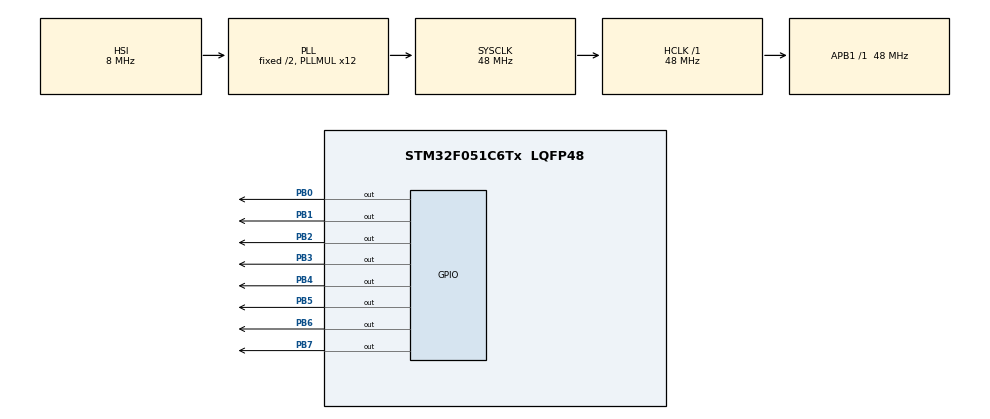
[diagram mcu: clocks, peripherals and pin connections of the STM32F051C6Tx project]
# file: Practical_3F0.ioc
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Mcu.Family=STM32F0
Mcu.Name=STM32F051C6Tx
Mcu.Package=LQFP48
PA13.Mode=Serial_Wire
PA13.Signal=SYS_SWDIO
PA14.Mode=Serial_Wire
PA14.Signal=SYS_SWCLK
PB0.Signal=GPIO_Output
PB1.Signal=GPIO_Output
PB2.Signal=GPIO_Output
PB3.Signal=GPIO_Output
PB4.Signal=GPIO_Output
PB5.Signal=GPIO_Output
PB6.Signal=GPIO_Output
PB7.Signal=GPIO_Output
PF0-OSC_IN.Mode=HSE-External-Oscillator
PF0-OSC_IN.Signal=RCC_OSC_IN
PF1-OSC_OUT.Mode=HSE-External-Oscillator
PF1-OSC_OUT.Signal=RCC_OSC_OUT
ProjectManager.HeapSize=0x200
ProjectManager.StackSize=0x400
ProjectManager.TargetToolchain=STM32CubeIDE
RCC.AHBFreq_Value=48000000
RCC.APB1Freq_Value=48000000
RCC.APB1TimFreq_Value=48000000
RCC.HCLKFreq_Value=48000000
RCC.PLLMUL=RCC_PLL_MUL12
RCC.SYSCLKFreq_VALUE=48000000
RCC.SYSCLKSource=RCC_SYSCLKSOURCE_PLLCLK
TIM2.Period=4294967294
VP_TIM1_VS_ClockSourceINT.Mode=Internal
VP_TIM2_VS_ClockSourceINT.Mode=Internal
board=custom

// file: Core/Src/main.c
/* USER CODE BEGIN Header */
/**
  ******************************************************************************
  * @file           : main.c
  * @brief          : Main program body
  ******************************************************************************
  * @attention
  *
  * Copyright (c) 2025 STMicroelectronics.
  * All rights reserved.
  *
  * This software is licensed under terms that can be found in the LICENSE file
  * in the root directory of this software component.
  * If no LICENSE file comes with this software, it is provided AS-IS.
  *
  ******************************************************************************
  */
/* USER CODE END Header */
#include "main.h"

/* USER CODE BEGIN PD */
#define MAX_ITER 100
/* USER CODE END PD */

TIM_HandleTypeDef htim1;
TIM_HandleTypeDef htim2;

/* USER CODE BEGIN PV */
//TODO: Define variables you think you might need
//Mandelbrot Variables
//********************************************************************
  uint32_t start_time = 0;
  uint32_t end_time = 0;
  uint16_t pin_mask = 0;
  uint64_t start_cnt, end_cnt; //For cycle counting
  uint32_t run_start = 0; //start time for run time
  uint32_t run_end = 0; //end time for run time
  uint32_t run_time = 0;

  int sizes[] = {192};//128, 160, 192, 224, 256};
  int num_sizes = 1;
  int rows = 8; //for striping

   // Arrays to store results
  uint64_t checksums[1];
  uint32_t execution_times[1];
  uint64_t cycle_cnt[1];
  double throughput[1];

  //*******************************************************************
  //End Mandelbrot variables
/* USER CODE END PV */

void SystemClock_Config(void);
static void MX_GPIO_Init(void);
static void MX_TIM2_Init(void);
static void MX_TIM1_Init(void);
/* USER CODE BEGIN PFP */
//TODO: Define any function prototypes you might need such as the calculate Mandelbrot function among others
	uint64_t calculate_mandelbrot_fixed_point_arithmetic(int width, int height, int max_iterations);
	uint64_t calculate_mandelbrot_double(int width, int height, int max_iterations);
	uint64_t calculate_mandelbrot_float(int width, int height, int max_iterations);
	uint64_t mandelbrot_sum_stripe(int width, int height, int y_start, int rows, int max_iterations);
	uint64_t calculate_mandelbrot_striped_total(int width, int height, int max_iterations, int stripe_rows);
	uint64_t calculate_mandelbrot_fixed_point_arithmetic_no_overflow(int width, int height, int max_iterations);
/* USER CODE END PFP */

int main(void)
{

  /* MCU Configuration--------------------------------------------------------*/

  /* Reset of all peripherals, Initializes the Flash interface and the Systick. */
  HAL_Init();

  /* Configure the system clock */
  SystemClock_Config();

  /* Initialize all configured peripherals */
  MX_GPIO_Init();
  MX_TIM2_Init();
  MX_TIM1_Init();
  /* USER CODE BEGIN 2 */

  //Start timer 2 (used to measure cycles)

    	 //TIM2 is initialised to be at the same frequency as the CPU
    	 HAL_TIM_Base_Start(&htim2);

  		  //TODO: Visual indicator: Turn on LED0 to signal processing start
  		  HAL_GPIO_WritePin(GPIOB, GPIO_PIN_0, GPIO_PIN_SET);

  		  //TODO: Benchmark and Profile Performance
  		  run_start = HAL_GetTick();
  		  //Automatically step through all image sizes
  		  for (int i = 0; i < num_sizes; i++)
  		    {
  		        int current_size = sizes[i];

  				  //Start time and cycle count
  				  start_time = HAL_GetTick();
  				  start_cnt = __HAL_TIM_GET_COUNTER(&htim2);

  				  //Call mandelbrot function
  				  //checksums[i] = calculate_mandelbrot_fixed_point_arithmetic(current_size, current_size, MAX_ITER);
  				  //checksums[i] = calculate_mandelbrot_fixed_point_arithmetic_no_overflow(current_size, current_size, MAX_ITER);
  				  //checksums[i] = calculate_mandelbrot_striped_total(current_size, 1080, MAX_ITER, rows);
  				  checksums[i] = calculate_mandelbrot_double(current_size, current_size, MAX_ITER);
  				  //checksum = calculate_mandelbrot_double(256, 256, MAX_ITER);

  				  //End time and cycle count
  				  end_time = HAL_GetTick();
  				  end_cnt = __HAL_TIM_GET_COUNTER(&htim2);

  				  execution_times[i] = end_time - start_time;
  				  throughput[i] = (current_size*current_size)/(execution_times[i]/1000.0); //Throughput in pixels per second

  				  //Cycle count (accounting for overflow of TIM2)
  				  if (end_cnt >= start_cnt)
  				      cycle_cnt[i] = end_cnt - start_cnt;
  				  else
  				      cycle_cnt[i] = (0xFFFFFFFF - start_cnt) + end_cnt + 1;

  				  //TODO: Visual indicator: Turn on LED1 to signal processing start
  					HAL_GPIO_WritePin(GPIOB, GPIO_PIN_1, GPIO_PIN_SET);

  				  //TODO: Keep the LEDs ON for 2s
  					HAL_Delay(2000);

  				  //TODO: Turn OFF LEDs
  					HAL_GPIO_WritePin(GPIOB, GPIO_PIN_0, GPIO_PIN_RESET);
  					HAL_GPIO_WritePin(GPIOB, GPIO_PIN_1, GPIO_PIN_RESET);
  		    }
  		run_end = HAL_GetTick();
  		run_time = run_end - run_start;
  /* USER CODE END 2 */
  		HAL_GPIO_WritePin(GPIOB, GPIO_PIN_2, GPIO_PIN_SET); //signal end of processing
  /* Infinite loop */
	  while (1)
	  {
	  }

}

void SystemClock_Config(void)
{
  RCC_OscInitTypeDef RCC_OscInitStruct = {0};
  RCC_ClkInitTypeDef RCC_ClkInitStruct = {0};

  /** Initializes the RCC Oscillators according to the specified parameters
  * in the RCC_OscInitTypeDef structure.
  */
  RCC_OscInitStruct.OscillatorType = RCC_OSCILLATORTYPE_HSI;
  RCC_OscInitStruct.HSIState = RCC_HSI_ON;
  RCC_OscInitStruct.HSICalibrationValue = RCC_HSICALIBRATION_DEFAULT;
  RCC_OscInitStruct.PLL.PLLState = RCC_PLL_ON;
  RCC_OscInitStruct.PLL.PLLSource = RCC_PLLSOURCE_HSI;
  RCC_OscInitStruct.PLL.PLLMUL = RCC_PLL_MUL12;
  RCC_OscInitStruct.PLL.PREDIV = RCC_PREDIV_DIV1;
  if (HAL_RCC_OscConfig(&RCC_OscInitStruct) != HAL_OK)
  {
    Error_Handler();
  }

  /** Initializes the CPU, AHB and APB buses clocks
  */
  RCC_ClkInitStruct.ClockType = RCC_CLOCKTYPE_HCLK|RCC_CLOCKTYPE_SYSCLK
                              |RCC_CLOCKTYPE_PCLK1;
  RCC_ClkInitStruct.SYSCLKSource = RCC_SYSCLKSOURCE_PLLCLK;
  RCC_ClkInitStruct.AHBCLKDivider = RCC_SYSCLK_DIV1;
  RCC_ClkInitStruct.APB1CLKDivider = RCC_HCLK_DIV1;

  if (HAL_RCC_ClockConfig(&RCC_ClkInitStruct, FLASH_LATENCY_1) != HAL_OK)
  {
    Error_Handler();
  }
}

static void MX_TIM1_Init(void)
{

  TIM_ClockConfigTypeDef sClockSourceConfig = {0};
  TIM_MasterConfigTypeDef sMasterConfig = {0};

  htim1.Instance = TIM1;
  htim1.Init.Prescaler = 0;
  htim1.Init.CounterMode = TIM_COUNTERMODE_UP;
  htim1.Init.Period = 65535;
  htim1.Init.ClockDivision = TIM_CLOCKDIVISION_DIV1;
  htim1.Init.RepetitionCounter = 0;
  htim1.Init.AutoReloadPreload = TIM_AUTORELOAD_PRELOAD_DISABLE;
  if (HAL_TIM_Base_Init(&htim1) != HAL_OK)
  {
    Error_Handler();
  }
  sClockSourceConfig.ClockSource = TIM_CLOCKSOURCE_INTERNAL;
  if (HAL_TIM_ConfigClockSource(&htim1, &sClockSourceConfig) != HAL_OK)
  {
    Error_Handler();
  }
  sMasterConfig.MasterOutputTrigger = TIM_TRGO_RESET;
  sMasterConfig.MasterSlaveMode = TIM_MASTERSLAVEMODE_DISABLE;
  if (HAL_TIMEx_MasterConfigSynchronization(&htim1, &sMasterConfig) != HAL_OK)
  {
    Error_Handler();
  }

}

static void MX_TIM2_Init(void)
{

  TIM_ClockConfigTypeDef sClockSourceConfig = {0};
  TIM_MasterConfigTypeDef sMasterConfig = {0};

  htim2.Instance = TIM2;
  htim2.Init.Prescaler = 0;
  htim2.Init.CounterMode = TIM_COUNTERMODE_UP;
  htim2.Init.Period = 4294967294;
  htim2.Init.ClockDivision = TIM_CLOCKDIVISION_DIV1;
  htim2.Init.AutoReloadPreload = TIM_AUTORELOAD_PRELOAD_DISABLE;
  if (HAL_TIM_Base_Init(&htim2) != HAL_OK)
  {
    Error_Handler();
  }
  sClockSourceConfig.ClockSource = TIM_CLOCKSOURCE_INTERNAL;
  if (HAL_TIM_ConfigClockSource(&htim2, &sClockSourceConfig) != HAL_OK)
  {
    Error_Handler();
  }
  sMasterConfig.MasterOutputTrigger = TIM_TRGO_RESET;
  sMasterConfig.MasterSlaveMode = TIM_MASTERSLAVEMODE_DISABLE;
  if (HAL_TIMEx_MasterConfigSynchronization(&htim2, &sMasterConfig) != HAL_OK)
  {
    Error_Handler();
  }

}

static void MX_GPIO_Init(void)
{
  GPIO_InitTypeDef GPIO_InitStruct = {0};

  /* GPIO Ports Clock Enable */
  __HAL_RCC_GPIOF_CLK_ENABLE();
  __HAL_RCC_GPIOB_CLK_ENABLE();
  __HAL_RCC_GPIOA_CLK_ENABLE();

  /*Configure GPIO pin Output Level */
  HAL_GPIO_WritePin(GPIOB, GPIO_PIN_0|GPIO_PIN_1|GPIO_PIN_2|GPIO_PIN_3
                          |GPIO_PIN_4|GPIO_PIN_5|GPIO_PIN_6|GPIO_PIN_7, GPIO_PIN_RESET);

  /*Configure GPIO pins : PB0 PB1 PB2 PB3
                           PB4 PB5 PB6 PB7 */
  GPIO_InitStruct.Pin = GPIO_PIN_0|GPIO_PIN_1|GPIO_PIN_2|GPIO_PIN_3
                          |GPIO_PIN_4|GPIO_PIN_5|GPIO_PIN_6|GPIO_PIN_7;
  GPIO_InitStruct.Mode = GPIO_MODE_OUTPUT_PP;
  GPIO_InitStruct.Pull = GPIO_NOPULL;
  GPIO_InitStruct.Speed = GPIO_SPEED_FREQ_LOW;
  HAL_GPIO_Init(GPIOB, &GPIO_InitStruct);

}

/* USER CODE BEGIN 4 */
//TODO: Function signatures you defined previously , implement them here

//Start Mandelbrot functions
//******************************************************************************************************
uint64_t calculate_mandelbrot_fixed_point_arithmetic(int width, int height, int max_iterations){
  uint64_t mandelbrot_sum = 0;

	int s = 1000000; //10^4 scale factor (so that overflow doesnt occur on 32bit ints)
	int s3_5 = 3.5*s;
	int s2_5 = 2.5*s;
	int x_0 = 0;
	int y_0 = 0;
	int x_i;
	int y_i;
	uint64_t iteration;
	int64_t temp; //Prevent overflow by making 64bit

	for (uint32_t y = 0; y <= height-1; y++)
	{
		for (uint32_t x = 0; x <= width-1; x++)
		{
			x_0 = ((((x*s)/width))*(s3_5)/s - (s2_5));
			y_0 = ((((y*s)/height))*(2*s)/s - (s));
			x_i = 0;
			y_i = 0;
			iteration = 0;
			while (iteration < max_iterations && (x_i*x_i + y_i*y_i)<= 4*s*s)
			{
				temp = x_i*x_i/s - y_i*y_i/s;
				y_i = 2*x_i*y_i/s + y_0;
				x_i = temp + x_0;
				iteration = iteration+1;
			}
			mandelbrot_sum = mandelbrot_sum + iteration;
		}
	}
	return mandelbrot_sum;

}

uint64_t calculate_mandelbrot_fixed_point_arithmetic_no_overflow(int width, int height, int max_iterations){
  uint64_t mandelbrot_sum = 0;

	int64_t s = 1000000; //10^4 scale factor (so that overflow doesnt occur on 32bit ints)
	int64_t s3_5 = 3.5*s;
	int64_t s2_5 = 2.5*s;
	int64_t x_0 = 0;
	int64_t y_0 = 0;
	int64_t x_i;
	int64_t y_i;
	uint64_t iteration;
	int64_t temp; //Prevent overflow by making 64bit

	for (uint32_t y = 0; y <= height-1; y++)
	{
		for (uint32_t x = 0; x <= width-1; x++)
		{
			x_0 = ((((x*s)/width))*(s3_5)/s - (s2_5));
			y_0 = ((((y*s)/height))*(2*s)/s - (s));
			x_i = 0;
			y_i = 0;
			iteration = 0;
			while (iteration < max_iterations && (x_i*x_i + y_i*y_i)<= 4*s*s)
			{
				temp = x_i*x_i/s - y_i*y_i/s;
				y_i = 2*x_i*y_i/s + y_0;
				x_i = temp + x_0;
				iteration = iteration+1;
			}
			mandelbrot_sum = mandelbrot_sum + iteration;
		}
	}
	return mandelbrot_sum;

}

uint64_t mandelbrot_sum_stripe(
	    int width, int height,
	    int y_start, int rows,
	    int max_iterations)
	{
	    if (rows <= 0 || y_start >= height) return 0;
	    int y_end = y_start + rows;
	    if (y_end > height) y_end = height;

	    uint64_t mandelbrot_sum = 0;

	    int s = 10000; //10^4 scale factor (so that overflow doesn't occur on 32bit ints)
	    int s3_5 = 3.5*s;
	    int s2_5 = 2.5*s;
	    int x_0 = 0;
	    int y_0 = 0;
	    int x_i;
	    int y_i;
	    uint64_t iteration;
	    int64_t temp; //Prevent overflow by making 64bit

	    for (int y = y_start; y < y_end; ++y) {

	        for (int x = 0; x <= width-1; ++x) {
	        	x_0 = ((((x*s)/width))*(s3_5)/s - (s2_5));
	        	y_0 = ((((y*s)/height))*(2*s)/s - (s));
	            x_i = 0;
	            y_i = 0;
	            iteration = 0;

	            while (iteration < max_iterations && (x_i*x_i + y_i*y_i)<= 4*s*s) {

	            	temp = x_i*x_i/s - y_i*y_i/s;
	            	y_i = 2*x_i*y_i/s + y_0;
	            	x_i = temp + x_0;

	                iteration = iteration +1;
	            }

	            mandelbrot_sum += iteration;
	        }
	    }
	    return mandelbrot_sum;
	}

	uint64_t calculate_mandelbrot_striped_total(
	    int width, int height, int max_iterations, int stripe_rows)
	{
	    uint64_t total = 0;
	    for (int y = 0; y < height; y += stripe_rows) {
	        int rows = (y + stripe_rows <= height) ? stripe_rows : (height - y);
	        total += mandelbrot_sum_stripe(
	                     width, height, y, rows, max_iterations);
	    }
	    return total;
	}

uint64_t calculate_mandelbrot_double(int width, int height, int max_iterations){

	uint64_t mandelbrot_sum = 0;

	double x_0;
	double y_0;
	double x_i;
	double y_i;
	uint64_t iteration;
	double temp;

	for(uint32_t y = 0; y <= height - 1; y++)
	{
		for(uint32_t x = 0; x <= width - 1; x++)
		{
			x_0 = ((double)(x)/(double)(width))*3.5 - 2.5;
			y_0 = ((double)(y)/(double)(height))*2.0 - 1.0;
			x_i = 0;
			y_i = 0;
			iteration = 0;
			while(iteration < max_iterations && x_i*x_i + y_i*y_i <= 4)
			{
				temp = x_i*x_i - y_i*y_i;
				y_i = 2.0*x_i*y_i + y_0;
				x_i = temp + x_0;
				iteration = iteration + 1;

			}
			mandelbrot_sum = mandelbrot_sum + iteration;
		}

	}
	return mandelbrot_sum;
}

uint64_t calculate_mandelbrot_float(int width, int height, int max_iterations){

	uint64_t mandelbrot_sum = 0;

	float x_0;
	float y_0;
	float x_i;
	float y_i;
	uint64_t iteration;
	float temp;

	for(uint32_t y = 0; y <= height - 1; y++)
	{
		for(uint32_t x = 0; x <= width - 1; x++)
		{
			x_0 = ((float)(x)/(float)(width))*3.5 - 2.5;
			y_0 = ((float)(y)/(float)(height))*2.0 - 1.0;
			x_i = 0;
			y_i = 0;
			iteration = 0;
			while(iteration < max_iterations && x_i*x_i + y_i*y_i <= 4)
			{
				temp = x_i*x_i - y_i*y_i;
				y_i = 2.0*x_i*y_i + y_0;
				x_i = temp + x_0;
				iteration = iteration + 1;

			}
			mandelbrot_sum = mandelbrot_sum + iteration;
		}

	}
	return mandelbrot_sum;
}

//****************************************************************************************************
//End Mandelbrot functions

/* USER CODE END 4 */

void Error_Handler(void)
{
  __disable_irq();
  while (1)
  {
  }
}
